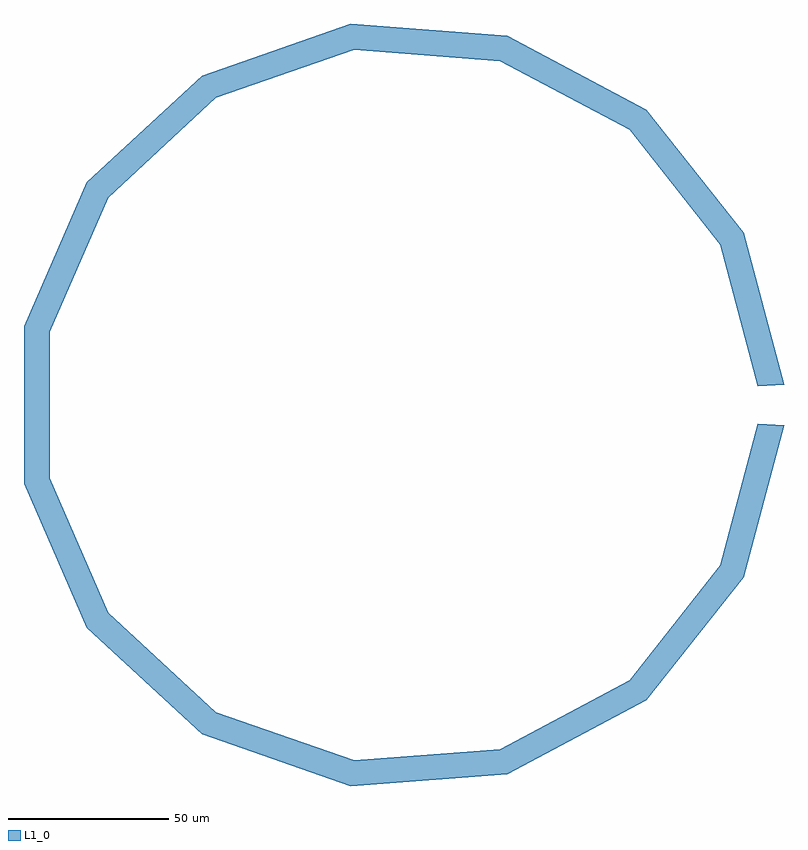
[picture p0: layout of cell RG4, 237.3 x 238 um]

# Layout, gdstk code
import gdstk
lib = gdstk.Library(unit=1e-6, precision=1e-09)
def P(c, l, *ps):  # polygons
    for p in ps: c.add(gdstk.Polygon(p, *l))
L1_0 = (1, 0)

rg4 = lib.new_cell('RG4')
P(rg4, L1_0, [(430.33,324.85),(418.65,369.07),(425.94,372.73),(438.48,325.28)],
  [(418.65,369.07),(390.24,404.92),(395.46,411.19),(425.94,372.73)],
  [(390.24,404.92),(349.85,426.4),(352.12,434.23),(395.46,411.19)],
  [(349.85,426.4),(304.24,429.91),(303.19,438),(352.12,434.23)],
  [(261.04,414.86),(256.84,421.86),(303.19,438),(304.24,429.91)],
  [(227.48,383.78),(220.83,388.51),(256.84,421.86),(261.04,414.86)],
  [(209.17,341.87),(201.18,343.54),(220.83,388.51),(227.48,383.78)],
  [(201.18,294.46),(201.18,343.54),(209.17,341.87),(209.17,296.12)],
  [(220.83,249.48),(201.18,294.46),(209.17,296.12),(227.48,254.21)],
  [(256.84,216.14),(220.83,249.48),(227.48,254.21),(261.04,223.13)],
  [(303.19,200),(256.84,216.14),(261.04,223.13),(304.24,208.08)],
  [(303.19,200),(304.24,208.08),(349.85,211.59),(352.12,203.76)],
  [(352.12,203.76),(349.85,211.59),(390.24,233.07),(395.46,226.8)],
  [(395.46,226.8),(390.24,233.07),(418.65,268.92),(425.94,265.26)],
  [(425.94,265.26),(418.65,268.92),(430.33,313.14),(438.48,312.72)])

lib.write_gds('RG4.gds')
